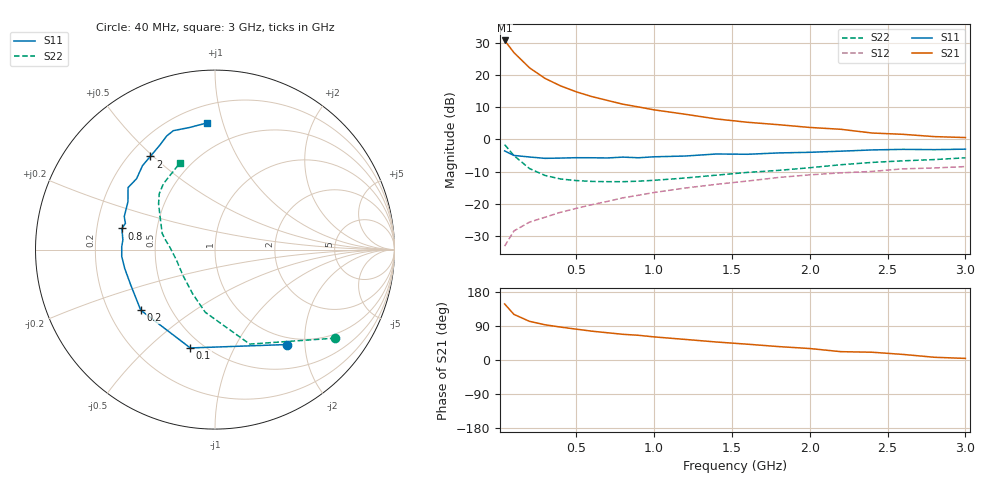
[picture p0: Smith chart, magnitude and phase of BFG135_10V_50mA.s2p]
! Filename:  BFG135C.S2P  Version:  2.0
! Philips part #: BFG135  Date: Jul 1990
! Bias condition: Vce=10V, Ic=50mA
#  MHz  S  MA  R  50
! Freq  S11  S21  S12  S22  !GUM [dB]
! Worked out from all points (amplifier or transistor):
!   21 points, 40 MHz to 3 GHz, reference 50 ohm
!   highest |S21| = 30.8 dB at 40 MHz (marker M1)
!   |S21| within 3 dB of that: start of sweep to 87.72 MHz
!   unconditionally stable (mu >= 1): 537.7 MHz to end of sweep
!   at 300 MHz: K = 0.83, MSG = 21.6 dB, |S12| = -24.2 dB
!   at 1 GHz: K = 1.08, MAG = 11.1 dB, |S12| = -16.5 dB
!   at 3 GHz: K = 1.01, MAG = 3.9 dB, |S12| = -8.4 dB
!   S11 on the Smith chart (normalised r, x): 40 MHz: 0.88, -1.66; 100 MHz: 0.43, -0.69; 200 MHz: 0.34, -0.32; 800 MHz: 0.31, +0.10; 2 GHz: 0.28, +0.49; 3 GHz: 0.31, +0.89
40  0.664 -52.8  34.53 148.0  0.022 67.1  0.833 -36.3
100  0.565 -104.1  22.37 120.3  0.038 51.3  0.561 -69.8
200  0.534 -140.8  12.97 102.0  0.052 49.2  0.353 -98.9
300  0.509 -157.7  8.879 92.9  0.062 52.4  0.276 -116.8
400  0.514 -168.4  6.794 86.8  0.074 55.4  0.243 -130.0
500  0.521 -175.8  5.501 81.4  0.085 58.0  0.23 -140.3
600  0.52 178.3  4.64 76.1  0.097 59.1  0.223 -148.5
700  0.516 174.1  4.048 71.9  0.109 60.4  0.221 -155.3
800  0.532 167.2  3.53 67.8  0.124 60.9  0.221 -161.7
900  0.52 163.7  3.201 65.2  0.136 60.7  0.225 -167.4
1000  0.538 160.0  2.885 61.0  0.15 60.6  0.232 -173.1
1200  0.553 151.3  2.466 54.3  0.176 59.9  0.252 176.9
1400  0.595 144.5  2.085 47.5  0.201 58.0  0.279 169.5
1600  0.589 137.9  1.85 41.7  0.226 57.2  0.308 162.9
1800  0.618 130.8  1.696 35.4  0.257 52.9  0.331 155.2
2000  0.632 124.8  1.538 30.3  0.282 50.7  0.364 147.6
2200  0.658 117.9  1.439 22.0  0.303 48.2  0.405 140.9
2400  0.688 113.0  1.26 20.5  0.319 46.6  0.44 134.9
2600  0.702 109.3  1.202 14.7  0.35 42.4  0.466 128.1
2800  0.695 101.8  1.108 7.2  0.361 37.2  0.487 120.1
3000  0.707 93.7  1.071 4.2  0.379 35.3  0.519 112.3
